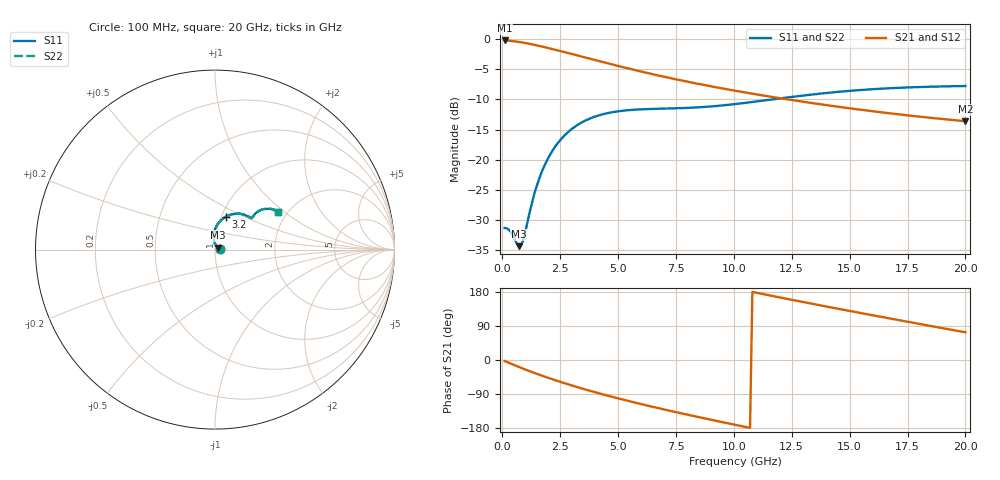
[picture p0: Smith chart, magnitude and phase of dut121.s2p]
! Touchstone file exported from HFSS 2023.1.0
!  File:  D:/Users/fzz/RDL_TSV/temp_RDL_TSV_121_1778750528.aedt
!  Generated:  5:34:18 %x4E0B%x5348  5%x6708 14, 2026
!  Design:  RDL_TSV
!  Project:  temp_RDL_TSV_121_1778750528
!  Setup:  Setup1
!  Solution:  Sweep
! Variables:
!  dtsv = 13.82um
!  hbump = 3um
!  htsv = 81.96um
!  ldown = 581.95um
!  lrdl = 579.29um
!  p = 40
!  p1 = 57.7um
!  rhole = 10um
!  subl = 4063.01um
!  t = 450um
!  tdown = 3.84um
!  trdl = 2.13um
!  viad = 10um
!  wdown = 27.16um
!  wrdl = 17.82um
!  xbump = 18um
# GHz S MA R 50.000000
! Terminal data exported
! Port[1] = TM1_1_T1
! Port[2] = TM1_4_T1
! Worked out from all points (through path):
!   200 points, 100 MHz to 20 GHz, reference 50 ohm
!   highest |S21| = -0.25 dB at 100 MHz (marker M1); lowest = -13.6 dB at 20 GHz (marker M2)
!   group delay of S21, straight-line fit = 37.5 ps
!   lowest |S11| = -34.3 dB at 700 MHz (marker M3), VSWR 1.04, Z = 51.5 + j1.21 ohm
!   |S11| at or under -10 dB: start of sweep to 11.69 GHz
!   |S22| runs from -34.3 to -7.7 dB; largest |S21 - S12| = 5e-15
!   S11 on the Smith chart (normalised r, x): 100 MHz: 1.06, +0.00; 3.2 GHz: 1.05, +0.40; 20 GHz: 1.79, +0.89
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0.1  0.02717 3.1  0.972 -2.7  0.972 -2.7  0.02717 3.2
! Gamma 0 0 0 0
! Port Impedance 50 0 50 0
0.3  0.0261 8.5  0.9666 -7.9  0.9666 -7.9  0.02609 8.5
0.7  0.01921 37.5  0.9466 -18.0  0.9466 -18.0  0.01919 37.7
0.8  0.01927 53.0  0.9401 -20.5  0.9401 -20.5  0.01928 53.2
0.9  0.02141 68.3  0.9331 -22.9  0.9331 -22.9  0.02145 68.5
1.4  0.05338 96.5  0.8932 -34.5  0.8932 -34.5  0.05358 96.7
1.6  0.07016 96.4  0.8758 -38.9  0.8758 -38.9  0.07043 96.5
1.9  0.09608 93.1  0.849 -45.4  0.849 -45.4  0.09644 93.2
2.5  0.1451 83.4  0.7951 -57.6  0.7951 -57.6  0.1456 83.4
3.2  0.1913 72.0  0.7343 -70.8  0.7343 -70.8  0.192 72.0
3.5  0.2068 67.6  0.7093 -76.3  0.7093 -76.3  0.2076 67.6
4.3  0.2367 57.7  0.6469 -90.0  0.6469 -90.0  0.2376 57.7
5.1  0.2531 50.3  0.5913 -102.8  0.5913 -102.8  0.254 50.3
5.9  0.2608 45.3  0.5425 -114.9  0.5425 -114.9  0.2617 45.3
6.8  0.2644 42.0  0.4952 -127.9  0.4952 -127.9  0.2653 42.0
8.3  0.2703 40.6  0.4308 -148.3  0.4308 -148.3  0.2713 40.6
10.1  0.2894 41.5  0.3713 -171.6  0.3713 -171.6  0.2904 41.5
11.8  0.3182 41.5  0.3274 167.3  0.3274 167.3  0.3194 41.6
13.4  0.347 40.1  0.2939 148.1  0.2939 148.1  0.3485 40.2
15  0.3717 37.7  0.2665 129.4  0.2665 129.4  0.3734 37.8
16.7  0.3905 34.9  0.2426 110.0  0.2426 110.0  0.3926 35.0
20  0.4075 30.7  0.2083 73.0  0.2083 73.0  0.4099 30.8
